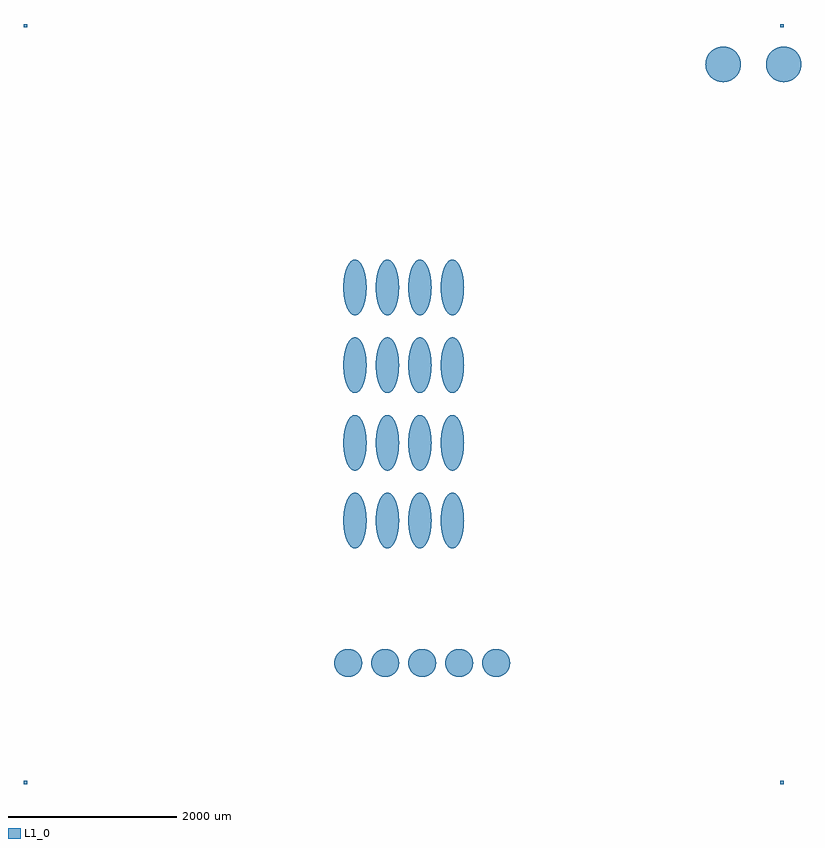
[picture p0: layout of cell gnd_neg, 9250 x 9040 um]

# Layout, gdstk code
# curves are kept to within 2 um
import gdstk
lib = gdstk.Library(unit=1e-6, precision=1e-09)
def R(c, l, rs):  # rectangles x0, y0, x1, y1
    for r in rs: c.add(gdstk.rectangle(r[:2], r[2:], *l))
def P(c, l, *ps):  # polygons
    for p in ps: c.add(gdstk.Polygon(p, *l))
L1_0 = (1, 0)

gnd_neg = lib.new_cell('gnd_neg')
R(gnd_neg, L1_0, [(480,480,520,520), (9480,480,9520,520), (480,9480,520,9520), (9480,9480,9520,9520)])
P(gnd_neg, L1_0, [(9520,9040),(9730,9040),(9725.06,9085.284),(9712.181,9124.656),(9694.175,9157.316),(9667.757,9189.224),(9635.589,9215.326),(9598.924,9234.605),(9559.187,9246.311),(9517.925,9249.99),(9476.744,9245.497),(9441.076,9234.605),(9411.427,9219.755),(9384.486,9200.424),(9358.245,9173.923),(9337.106,9143.198),(9323.142,9113.122),(9313.312,9077.147),(9310,9040)],
  [(9520,9040),(9310,9040),(9314.94,8994.716),(9327.819,8955.344),(9345.825,8922.684),(9372.243,8890.776),(9404.411,8864.674),(9441.076,8845.395),(9480.813,8833.689),(9522.075,8830.01),(9563.256,8834.503),(9598.924,8845.395),(9628.573,8860.245),(9655.514,8879.576),(9681.755,8906.077),(9702.894,8936.802),(9716.858,8966.878),(9726.688,9002.853),(9730,9040)],
  [(8800,9040),(9010,9040),(9005.06,9085.284),(8992.181,9124.656),(8974.175,9157.316),(8947.757,9189.224),(8915.589,9215.326),(8878.924,9234.605),(8839.187,9246.311),(8797.925,9249.99),(8756.744,9245.497),(8721.076,9234.605),(8691.427,9219.755),(8664.486,9200.424),(8638.245,9173.923),(8617.106,9143.198),(8603.142,9113.122),(8593.312,9077.147),(8590,9040)],
  [(8800,9040),(8590,9040),(8594.94,8994.716),(8607.819,8955.344),(8625.825,8922.684),(8652.243,8890.776),(8684.411,8864.674),(8721.076,8845.395),(8760.813,8833.689),(8802.075,8830.01),(8843.256,8834.503),(8878.924,8845.395),(8908.573,8860.245),(8935.514,8879.576),(8961.755,8906.077),(8982.894,8936.802),(8996.858,8966.878),(9006.688,9002.853),(9010,9040)],
  [(4420.4,6386),(4558.4,6386),(4555.941,6448.025),(4547.664,6513.615),(4535.365,6568.54),(4518.969,6616.958),(4499.059,6657.144),(4473.951,6690.141),(4449.091,6708.789),(4420.6,6716),(4404.977,6713.933),(4387.014,6706.197),(4357.749,6680.031),(4329.712,6634.738),(4308.637,6579.579)],
  [(4420.4,6386),(4308.637,6579.579),(4289.224,6488.486),(4282.402,6387.555),(4289.224,6283.514),(4308.637,6192.421)],
  [(4420.4,6386),(4308.637,6192.421),(4329.712,6137.262),(4357.749,6091.969),(4387.014,6065.803),(4404.977,6058.067),(4420.6,6056),(4449.091,6063.211),(4473.951,6081.859),(4499.059,6114.856),(4518.969,6155.042),(4535.365,6203.46),(4547.664,6258.385),(4555.941,6323.975),(4558.4,6386)],
  [(4806.8,6386),(4944.8,6386),(4942.341,6448.025),(4934.064,6513.615),(4921.765,6568.54),(4905.369,6616.958),(4885.459,6657.144),(4860.351,6690.141),(4835.491,6708.789),(4807,6716),(4791.377,6713.933),(4773.414,6706.197),(4744.149,6680.031),(4716.112,6634.738),(4695.037,6579.579)],
  [(4806.8,6386),(4695.037,6579.579),(4675.624,6488.486),(4668.802,6387.555),(4675.624,6283.514),(4695.037,6192.421)],
  [(4806.8,6386),(4695.037,6192.421),(4716.112,6137.262),(4744.149,6091.969),(4773.414,6065.803),(4791.377,6058.067),(4807,6056),(4835.491,6063.211),(4860.351,6081.859),(4885.459,6114.856),(4905.369,6155.042),(4921.765,6203.46),(4934.064,6258.385),(4942.341,6323.975),(4944.8,6386)],
  [(5193.2,6386),(5331.2,6386),(5328.741,6448.025),(5320.464,6513.615),(5308.165,6568.54),(5291.769,6616.958),(5271.859,6657.144),(5246.751,6690.141),(5221.891,6708.789),(5193.4,6716),(5177.777,6713.933),(5159.814,6706.197),(5130.549,6680.031),(5102.512,6634.738),(5081.437,6579.579)],
  [(5193.2,6386),(5081.437,6579.579),(5062.024,6488.486),(5055.202,6387.555),(5062.024,6283.514),(5081.437,6192.421)],
  [(5193.2,6386),(5081.437,6192.421),(5102.512,6137.262),(5130.549,6091.969),(5159.814,6065.803),(5177.777,6058.067),(5193.4,6056),(5221.891,6063.211),(5246.751,6081.859),(5271.859,6114.856),(5291.769,6155.042),(5308.165,6203.46),(5320.464,6258.385),(5328.741,6323.975),(5331.2,6386)],
  [(5579.6,6386),(5717.6,6386),(5715.141,6448.025),(5706.864,6513.615),(5694.565,6568.54),(5678.169,6616.958),(5658.259,6657.144),(5633.151,6690.141),(5608.291,6708.789),(5579.8,6716),(5564.177,6713.933),(5546.214,6706.197),(5516.949,6680.031),(5488.912,6634.738),(5467.837,6579.579)],
  [(5579.6,6386),(5467.837,6579.579),(5448.424,6488.486),(5441.602,6387.555),(5448.424,6283.514),(5467.837,6192.421)],
  [(5579.6,6386),(5467.837,6192.421),(5488.912,6137.262),(5516.949,6091.969),(5546.214,6065.803),(5564.177,6058.067),(5579.8,6056),(5608.291,6063.211),(5633.151,6081.859),(5658.259,6114.856),(5678.169,6155.042),(5694.565,6203.46),(5706.864,6258.385),(5715.141,6323.975),(5717.6,6386)],
  [(4420.4,5462),(4558.4,5462),(4555.941,5524.025),(4547.664,5589.615),(4535.365,5644.54),(4518.969,5692.958),(4499.059,5733.144),(4473.951,5766.141),(4449.091,5784.789),(4420.6,5792),(4404.977,5789.933),(4387.014,5782.197),(4357.749,5756.031),(4329.712,5710.738),(4308.637,5655.579)],
  [(4420.4,5462),(4308.637,5655.579),(4289.224,5564.486),(4282.402,5463.555),(4289.224,5359.514),(4308.637,5268.421)],
  [(4420.4,5462),(4308.637,5268.421),(4329.712,5213.262),(4357.749,5167.969),(4387.014,5141.803),(4404.977,5134.067),(4420.6,5132),(4449.091,5139.211),(4473.951,5157.859),(4499.059,5190.856),(4518.969,5231.042),(4535.365,5279.46),(4547.664,5334.385),(4555.941,5399.975),(4558.4,5462)],
  [(4806.8,5462),(4944.8,5462),(4942.341,5524.025),(4934.064,5589.615),(4921.765,5644.54),(4905.369,5692.958),(4885.459,5733.144),(4860.351,5766.141),(4835.491,5784.789),(4807,5792),(4791.377,5789.933),(4773.414,5782.197),(4744.149,5756.031),(4716.112,5710.738),(4695.037,5655.579)],
  [(4806.8,5462),(4695.037,5655.579),(4675.624,5564.486),(4668.802,5463.555),(4675.624,5359.514),(4695.037,5268.421)],
  [(4806.8,5462),(4695.037,5268.421),(4716.112,5213.262),(4744.149,5167.969),(4773.414,5141.803),(4791.377,5134.067),(4807,5132),(4835.491,5139.211),(4860.351,5157.859),(4885.459,5190.856),(4905.369,5231.042),(4921.765,5279.46),(4934.064,5334.385),(4942.341,5399.975),(4944.8,5462)],
  [(5193.2,5462),(5331.2,5462),(5328.741,5524.025),(5320.464,5589.615),(5308.165,5644.54),(5291.769,5692.958),(5271.859,5733.144),(5246.751,5766.141),(5221.891,5784.789),(5193.4,5792),(5177.777,5789.933),(5159.814,5782.197),(5130.549,5756.031),(5102.512,5710.738),(5081.437,5655.579)],
  [(5193.2,5462),(5081.437,5655.579),(5062.024,5564.486),(5055.202,5463.555),(5062.024,5359.514),(5081.437,5268.421)],
  [(5193.2,5462),(5081.437,5268.421),(5102.512,5213.262),(5130.549,5167.969),(5159.814,5141.803),(5177.777,5134.067),(5193.4,5132),(5221.891,5139.211),(5246.751,5157.859),(5271.859,5190.856),(5291.769,5231.042),(5308.165,5279.46),(5320.464,5334.385),(5328.741,5399.975),(5331.2,5462)],
  [(5579.6,5462),(5717.6,5462),(5715.141,5524.025),(5706.864,5589.615),(5694.565,5644.54),(5678.169,5692.958),(5658.259,5733.144),(5633.151,5766.141),(5608.291,5784.789),(5579.8,5792),(5564.177,5789.933),(5546.214,5782.197),(5516.949,5756.031),(5488.912,5710.738),(5467.837,5655.579)],
  [(5579.6,5462),(5467.837,5655.579),(5448.424,5564.486),(5441.602,5463.555),(5448.424,5359.514),(5467.837,5268.421)],
  [(5579.6,5462),(5467.837,5268.421),(5488.912,5213.262),(5516.949,5167.969),(5546.214,5141.803),(5564.177,5134.067),(5579.8,5132),(5608.291,5139.211),(5633.151,5157.859),(5658.259,5190.856),(5678.169,5231.042),(5694.565,5279.46),(5706.864,5334.385),(5715.141,5399.975),(5717.6,5462)],
  [(4420.4,4538),(4558.4,4538),(4555.941,4600.025),(4547.664,4665.615),(4535.365,4720.54),(4518.969,4768.958),(4499.059,4809.144),(4473.951,4842.141),(4449.091,4860.789),(4420.6,4868),(4404.977,4865.933),(4387.014,4858.197),(4357.749,4832.031),(4329.712,4786.738),(4308.637,4731.579)],
  [(4420.4,4538),(4308.637,4731.579),(4289.224,4640.486),(4282.402,4539.555),(4289.224,4435.514),(4308.637,4344.421)],
  [(4420.4,4538),(4308.637,4344.421),(4329.712,4289.262),(4357.749,4243.969),(4387.014,4217.803),(4404.977,4210.067),(4420.6,4208),(4449.091,4215.211),(4473.951,4233.859),(4499.059,4266.856),(4518.969,4307.042),(4535.365,4355.46),(4547.664,4410.385),(4555.941,4475.975),(4558.4,4538)],
  [(4806.8,4538),(4944.8,4538),(4942.341,4600.025),(4934.064,4665.615),(4921.765,4720.54),(4905.369,4768.958),(4885.459,4809.144),(4860.351,4842.141),(4835.491,4860.789),(4807,4868),(4791.377,4865.933),(4773.414,4858.197),(4744.149,4832.031),(4716.112,4786.738),(4695.037,4731.579)],
  [(4806.8,4538),(4695.037,4731.579),(4675.624,4640.486),(4668.802,4539.555),(4675.624,4435.514),(4695.037,4344.421)],
  [(4806.8,4538),(4695.037,4344.421),(4716.112,4289.262),(4744.149,4243.969),(4773.414,4217.803),(4791.377,4210.067),(4807,4208),(4835.491,4215.211),(4860.351,4233.859),(4885.459,4266.856),(4905.369,4307.042),(4921.765,4355.46),(4934.064,4410.385),(4942.341,4475.975),(4944.8,4538)],
  [(5193.2,4538),(5331.2,4538),(5328.741,4600.025),(5320.464,4665.615),(5308.165,4720.54),(5291.769,4768.958),(5271.859,4809.144),(5246.751,4842.141),(5221.891,4860.789),(5193.4,4868),(5177.777,4865.933),(5159.814,4858.197),(5130.549,4832.031),(5102.512,4786.738),(5081.437,4731.579)],
  [(5193.2,4538),(5081.437,4731.579),(5062.024,4640.486),(5055.202,4539.555),(5062.024,4435.514),(5081.437,4344.421)],
  [(5193.2,4538),(5081.437,4344.421),(5102.512,4289.262),(5130.549,4243.969),(5159.814,4217.803),(5177.777,4210.067),(5193.4,4208),(5221.891,4215.211),(5246.751,4233.859),(5271.859,4266.856),(5291.769,4307.042),(5308.165,4355.46),(5320.464,4410.385),(5328.741,4475.975),(5331.2,4538)],
  [(5579.6,4538),(5717.6,4538),(5715.141,4600.025),(5706.864,4665.615),(5694.565,4720.54),(5678.169,4768.958),(5658.259,4809.144),(5633.151,4842.141),(5608.291,4860.789),(5579.8,4868),(5564.177,4865.933),(5546.214,4858.197),(5516.949,4832.031),(5488.912,4786.738),(5467.837,4731.579)],
  [(5579.6,4538),(5467.837,4731.579),(5448.424,4640.486),(5441.602,4539.555),(5448.424,4435.514),(5467.837,4344.421)],
  [(5579.6,4538),(5467.837,4344.421),(5488.912,4289.262),(5516.949,4243.969),(5546.214,4217.803),(5564.177,4210.067),(5579.8,4208),(5608.291,4215.211),(5633.151,4233.859),(5658.259,4266.856),(5678.169,4307.042),(5694.565,4355.46),(5706.864,4410.385),(5715.141,4475.975),(5717.6,4538)],
  [(4420.4,3614),(4558.4,3614),(4555.941,3676.025),(4547.664,3741.615),(4535.365,3796.54),(4518.969,3844.958),(4499.059,3885.144),(4473.951,3918.141),(4449.091,3936.789),(4420.6,3944),(4404.977,3941.933),(4387.014,3934.197),(4357.749,3908.031),(4329.712,3862.738),(4308.637,3807.579)],
  [(4420.4,3614),(4308.637,3807.579),(4289.224,3716.486),(4282.402,3615.555),(4289.224,3511.514),(4308.637,3420.421)],
  [(4420.4,3614),(4308.637,3420.421),(4329.712,3365.262),(4357.749,3319.969),(4387.014,3293.803),(4404.977,3286.067),(4420.6,3284),(4449.091,3291.211),(4473.951,3309.859),(4499.059,3342.856),(4518.969,3383.042),(4535.365,3431.46),(4547.664,3486.385),(4555.941,3551.975),(4558.4,3614)],
  [(4806.8,3614),(4944.8,3614),(4942.341,3676.025),(4934.064,3741.615),(4921.765,3796.54),(4905.369,3844.958),(4885.459,3885.144),(4860.351,3918.141),(4835.491,3936.789),(4807,3944),(4791.377,3941.933),(4773.414,3934.197),(4744.149,3908.031),(4716.112,3862.738),(4695.037,3807.579)],
  [(4806.8,3614),(4695.037,3807.579),(4675.624,3716.486),(4668.802,3615.555),(4675.624,3511.514),(4695.037,3420.421)],
  [(4806.8,3614),(4695.037,3420.421),(4716.112,3365.262),(4744.149,3319.969),(4773.414,3293.803),(4791.377,3286.067),(4807,3284),(4835.491,3291.211),(4860.351,3309.859),(4885.459,3342.856),(4905.369,3383.042),(4921.765,3431.46),(4934.064,3486.385),(4942.341,3551.975),(4944.8,3614)],
  [(5193.2,3614),(5331.2,3614),(5328.741,3676.025),(5320.464,3741.615),(5308.165,3796.54),(5291.769,3844.958),(5271.859,3885.144),(5246.751,3918.141),(5221.891,3936.789),(5193.4,3944),(5177.777,3941.933),(5159.814,3934.197),(5130.549,3908.031),(5102.512,3862.738),(5081.437,3807.579)],
  [(5193.2,3614),(5081.437,3807.579),(5062.024,3716.486),(5055.202,3615.555),(5062.024,3511.514),(5081.437,3420.421)],
  [(5193.2,3614),(5081.437,3420.421),(5102.512,3365.262),(5130.549,3319.969),(5159.814,3293.803),(5177.777,3286.067),(5193.4,3284),(5221.891,3291.211),(5246.751,3309.859),(5271.859,3342.856),(5291.769,3383.042),(5308.165,3431.46),(5320.464,3486.385),(5328.741,3551.975),(5331.2,3614)],
  [(5579.6,3614),(5717.6,3614),(5715.141,3676.025),(5706.864,3741.615),(5694.565,3796.54),(5678.169,3844.958),(5658.259,3885.144),(5633.151,3918.141),(5608.291,3936.789),(5579.8,3944),(5564.177,3941.933),(5546.214,3934.197),(5516.949,3908.031),(5488.912,3862.738),(5467.837,3807.579)],
  [(5579.6,3614),(5467.837,3807.579),(5448.424,3716.486),(5441.602,3615.555),(5448.424,3511.514),(5467.837,3420.421)],
  [(5579.6,3614),(5467.837,3420.421),(5488.912,3365.262),(5516.949,3319.969),(5546.214,3293.803),(5564.177,3286.067),(5579.8,3284),(5608.291,3291.211),(5633.151,3309.859),(5658.259,3342.856),(5678.169,3383.042),(5694.565,3431.46),(5706.864,3486.385),(5715.141,3551.975),(5717.6,3614)],
  [(4340,1920),(4505,1920),(4500.069,1960.036),(4487.266,1994.417),(4464.808,2027.926),(4437.875,2052.837),(4409.454,2069.67),(4381.817,2079.613),(4349.186,2084.744),(4316.187,2083.273),(4284.143,2075.258),(4254.337,2061.021),(4227.964,2041.132),(4206.081,2016.389),(4192.734,1994.417),(4182.962,1970.638),(4177.003,1945.63),(4175,1920)],
  [(4340,1920),(4175,1920),(4179.931,1879.964),(4192.734,1845.583),(4215.192,1812.074),(4242.125,1787.163),(4270.546,1770.33),(4298.183,1760.387),(4330.814,1755.256),(4363.813,1756.727),(4395.857,1764.742),(4425.663,1778.979),(4452.036,1798.868),(4473.919,1823.611),(4487.266,1845.583),(4497.038,1869.362),(4502.997,1894.37),(4505,1920)],
  [(4780,1920),(4945,1920),(4940.069,1960.036),(4927.266,1994.417),(4904.808,2027.926),(4877.875,2052.837),(4849.454,2069.67),(4821.817,2079.613),(4789.186,2084.744),(4756.187,2083.273),(4724.143,2075.258),(4694.337,2061.021),(4667.964,2041.132),(4646.081,2016.389),(4632.734,1994.417),(4622.962,1970.638),(4617.003,1945.63),(4615,1920)],
  [(4780,1920),(4615,1920),(4619.931,1879.964),(4632.734,1845.583),(4655.192,1812.074),(4682.125,1787.163),(4710.546,1770.33),(4738.183,1760.387),(4770.814,1755.256),(4803.813,1756.727),(4835.857,1764.742),(4865.663,1778.979),(4892.036,1798.868),(4913.919,1823.611),(4927.266,1845.583),(4937.038,1869.362),(4942.997,1894.37),(4945,1920)],
  [(5220,1920),(5385,1920),(5380.069,1960.036),(5367.266,1994.417),(5344.808,2027.926),(5317.875,2052.837),(5289.454,2069.67),(5261.817,2079.613),(5229.186,2084.744),(5196.187,2083.273),(5164.143,2075.258),(5134.337,2061.021),(5107.964,2041.132),(5086.081,2016.389),(5072.734,1994.417),(5062.962,1970.638),(5057.003,1945.63),(5055,1920)],
  [(5220,1920),(5055,1920),(5059.931,1879.964),(5072.734,1845.583),(5095.192,1812.074),(5122.125,1787.163),(5150.546,1770.33),(5178.183,1760.387),(5210.814,1755.256),(5243.813,1756.727),(5275.857,1764.742),(5305.663,1778.979),(5332.036,1798.868),(5353.919,1823.611),(5367.266,1845.583),(5377.038,1869.362),(5382.997,1894.37),(5385,1920)],
  [(5660,1920),(5825,1920),(5820.069,1960.036),(5807.266,1994.417),(5784.808,2027.926),(5757.875,2052.837),(5729.454,2069.67),(5701.817,2079.613),(5669.186,2084.744),(5636.187,2083.273),(5604.143,2075.258),(5574.337,2061.021),(5547.964,2041.132),(5526.081,2016.389),(5512.734,1994.417),(5502.962,1970.638),(5497.003,1945.63),(5495,1920)],
  [(5660,1920),(5495,1920),(5499.931,1879.964),(5512.734,1845.583),(5535.192,1812.074),(5562.125,1787.163),(5590.546,1770.33),(5618.183,1760.387),(5650.814,1755.256),(5683.813,1756.727),(5715.857,1764.742),(5745.663,1778.979),(5772.036,1798.868),(5793.919,1823.611),(5807.266,1845.583),(5817.038,1869.362),(5822.997,1894.37),(5825,1920)],
  [(6100,1920),(6265,1920),(6260.069,1960.036),(6247.266,1994.417),(6224.808,2027.926),(6197.875,2052.837),(6169.454,2069.67),(6141.817,2079.613),(6109.186,2084.744),(6076.187,2083.273),(6044.143,2075.258),(6014.337,2061.021),(5987.964,2041.132),(5966.081,2016.389),(5952.734,1994.417),(5942.962,1970.638),(5937.003,1945.63),(5935,1920)],
  [(6100,1920),(5935,1920),(5939.931,1879.964),(5952.734,1845.583),(5975.192,1812.074),(6002.125,1787.163),(6030.546,1770.33),(6058.183,1760.387),(6090.814,1755.256),(6123.813,1756.727),(6155.857,1764.742),(6185.663,1778.979),(6212.036,1798.868),(6233.919,1823.611),(6247.266,1845.583),(6257.038,1869.362),(6262.997,1894.37),(6265,1920)])

lib.write_gds('gnd_neg.gds')
